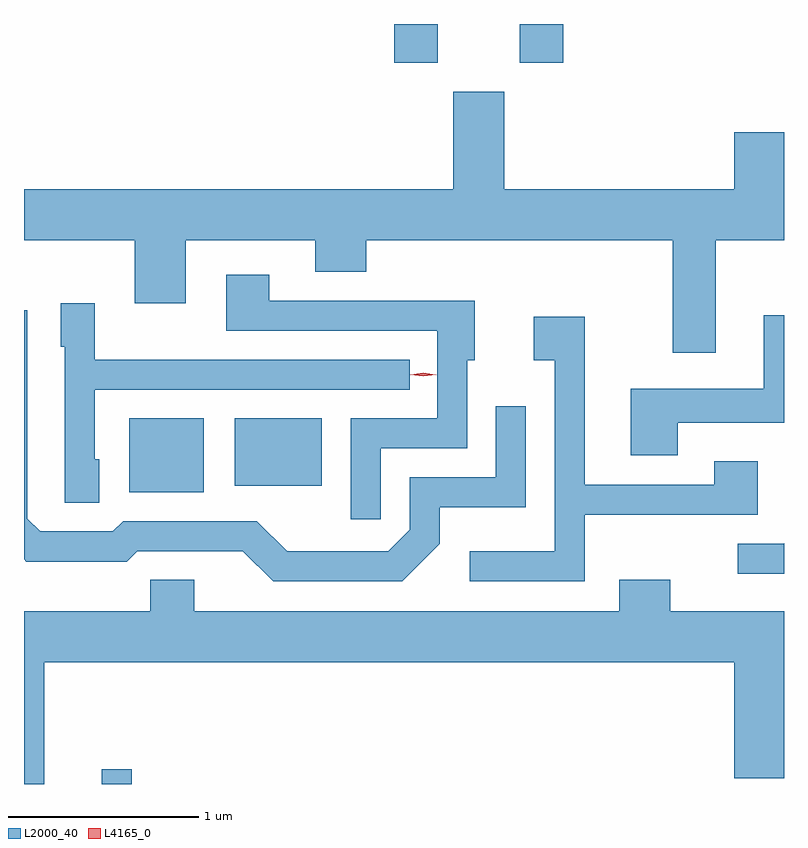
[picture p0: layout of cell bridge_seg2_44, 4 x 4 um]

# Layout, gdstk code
import gdstk
lib = gdstk.Library(unit=1e-6, precision=1e-09)
def R(c, l, rs):  # rectangles x0, y0, x1, y1
    for r in rs: c.add(gdstk.rectangle(r[:2], r[2:], *l))
def P(c, l, *ps):  # polygons
    for p in ps: c.add(gdstk.Polygon(p, *l))
L2000_40 = (2000, 40)
L4165_0 = (4165, 0)

bridge_seg2_44 = lib.new_cell('bridge_seg2_44')
R(bridge_seg2_44, L2000_40, [(1450.506,1065.435,1450.664,1065.513), (1450.651,1066.971,1451.044,1067.359), (1451.206,1067.006,1451.664,1067.359), (1452.046,1069.231,1452.274,1069.435), (1452.706,1069.231,1452.934,1069.435)])
P(bridge_seg2_44, L2000_40, [(1453.739,1068.296),(1454.097,1068.296),(1454.097,1068.864),(1453.836,1068.864),(1453.836,1068.564),(1452.624,1068.564),(1452.624,1069.079),(1452.356,1069.079),(1452.356,1068.564),(1450.097,1068.564),(1450.097,1068.296),(1450.681,1068.296),(1450.681,1067.966),(1450.949,1067.966),(1450.949,1068.296),(1451.631,1068.296),(1451.631,1068.131),(1451.899,1068.131),(1451.899,1068.296),(1453.511,1068.296),(1453.511,1067.706),(1453.739,1067.706)],
  [(1451.974,1067.201),(1452.429,1067.201),(1452.429,1067.666),(1452.469,1067.666),(1452.469,1067.979),(1451.389,1067.979),(1451.389,1068.114),(1451.161,1068.114),(1451.161,1067.821),(1452.271,1067.821),(1452.271,1067.359),(1451.816,1067.359),(1451.816,1066.828),(1451.974,1066.828)],
  [(1450.494,1067.144),(1450.469,1067.144),(1450.469,1067.511),(1452.128,1067.511),(1452.128,1067.669),(1450.469,1067.669),(1450.469,1067.964),(1450.291,1067.964),(1450.291,1067.736),(1450.311,1067.736),(1450.311,1066.916),(1450.494,1066.916)],
  [(1452.284,1066.699),(1452.284,1066.891),(1452.739,1066.891),(1452.739,1067.423),(1452.581,1067.423),(1452.581,1067.049),(1452.126,1067.049),(1452.126,1066.772),(1452.014,1066.659),(1451.482,1066.659),(1451.322,1066.819),(1450.619,1066.819),(1450.564,1066.764),(1450.182,1066.764),(1450.114,1066.832),(1450.114,1067.929),(1450.097,1067.929),(1450.097,1066.618),(1450.109,1066.606),(1450.637,1066.606),(1450.692,1066.661),(1451.249,1066.661),(1451.409,1066.501),(1452.087,1066.501)],
  [(1453.539,1067.336),(1454.097,1067.336),(1454.097,1067.903),(1453.991,1067.903),(1453.991,1067.514),(1453.291,1067.514),(1453.291,1067.166),(1453.539,1067.166)],
  [(1453.049,1066.851),(1453.959,1066.851),(1453.959,1067.134),(1453.731,1067.134),(1453.731,1067.009),(1453.049,1067.009),(1453.049,1067.894),(1452.781,1067.894),(1452.781,1067.666),(1452.891,1067.666),(1452.891,1066.659),(1452.443,1066.659),(1452.443,1066.501),(1453.049,1066.501)],
  [(1454.097,1066.702),(1454.094,1066.699),(1453.853,1066.699),(1453.853,1066.541),(1454.097,1066.541)],
  [(1450.204,1066.076),(1453.836,1066.076),(1453.836,1065.466),(1454.097,1065.466),(1454.097,1066.344),(1453.499,1066.344),(1453.499,1066.509),(1453.231,1066.509),(1453.231,1066.344),(1450.994,1066.344),(1450.994,1066.509),(1450.761,1066.509),(1450.761,1066.344),(1450.097,1066.344),(1450.097,1065.435),(1450.204,1065.435)])
P(bridge_seg2_44, L4165_0, [(1452.198,1067.58),(1452.129,1067.59),(1452.128,1067.59),(1452.129,1067.59),(1452.198,1067.6),(1452.267,1067.59),(1452.267,1067.59),(1452.267,1067.59)],
  [(1452.198,1067.58),(1452.132,1067.59),(1452.132,1067.59),(1452.132,1067.59),(1452.198,1067.6),(1452.264,1067.59),(1452.265,1067.59),(1452.264,1067.59)])

lib.write_gds('bridge_seg2_44.gds')
